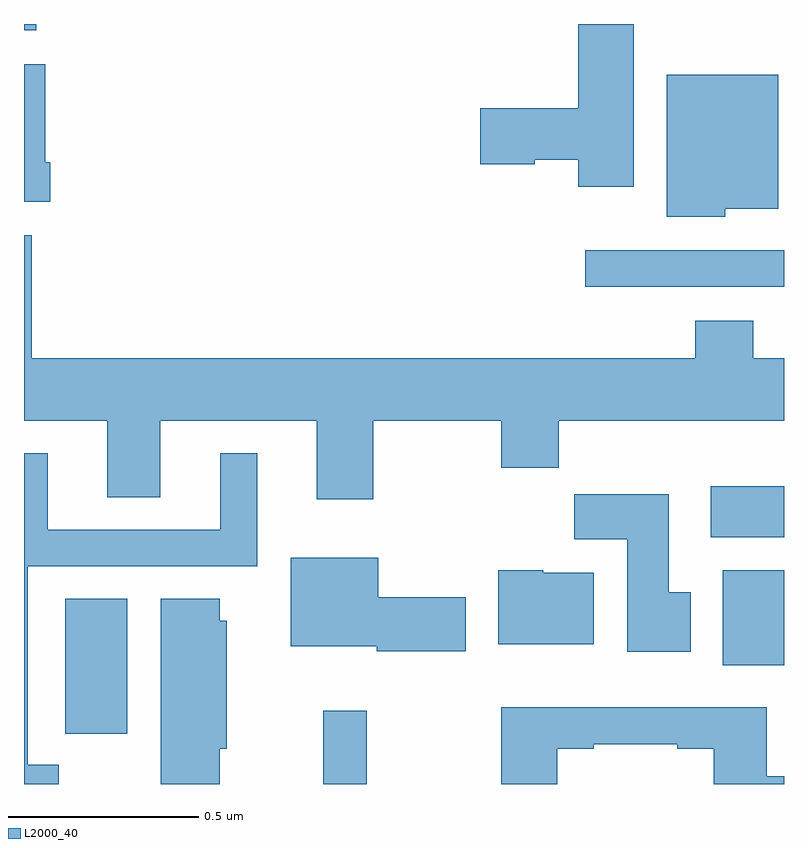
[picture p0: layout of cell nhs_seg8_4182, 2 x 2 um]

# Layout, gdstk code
import gdstk
lib = gdstk.Library(unit=1e-6, precision=1e-09)
def R(c, l, rs):  # rectangles x0, y0, x1, y1
    for r in rs: c.add(gdstk.rectangle(r[:2], r[2:], *l))
def P(c, l, *ps):  # polygons
    for p in ps: c.add(gdstk.Polygon(p, *l))
L2000_40 = (2000, 40)

nhs_seg8_4182 = lib.new_cell('nhs_seg8_4182')
R(nhs_seg8_4182, L2000_40, [(167.788,1092.9,167.902,1093.093), (167.108,1093.032,167.272,1093.388), (168.839,1093.212,169,1093.462), (168.807,1093.55,169,1093.684), (168.477,1094.208,169,1094.304), (167,1094.883,167.032,1094.9)])
P(nhs_seg8_4182, L2000_40, [(168.604,1094.9),(168.458,1094.9),(168.458,1094.678),(168.201,1094.678),(168.201,1094.531),(168.344,1094.531),(168.344,1094.543),(168.458,1094.543),(168.458,1094.472),(168.604,1094.472)],
  [(167.069,1094.536),(167.056,1094.536),(167.056,1094.794),(167,1094.794),(167,1094.432),(167.069,1094.432)],
  [(168.846,1094.414),(168.985,1094.414),(168.985,1094.767),(168.692,1094.767),(168.692,1094.393),(168.846,1094.393)],
  [(167.919,1093.856),(168.256,1093.856),(168.256,1093.732),(168.407,1093.732),(168.407,1093.856),(169,1093.856),(169,1094.02),(168.919,1094.02),(168.919,1094.119),(168.767,1094.119),(168.767,1094.02),(167.021,1094.02),(167.021,1094.344),(167,1094.344),(167,1093.856),(167.219,1093.856),(167.219,1093.654),(167.359,1093.654),(167.359,1093.856),(167.771,1093.856),(167.771,1093.65),(167.919,1093.65)],
  [(167.092,1092.951),(167.01,1092.951),(167.01,1093.473),(167.614,1093.473),(167.614,1093.771),(167.516,1093.771),(167.516,1093.569),(167.062,1093.569),(167.062,1093.771),(167,1093.771),(167,1092.9),(167.092,1092.9)],
  [(168.754,1093.404),(168.697,1093.404),(168.697,1093.663),(168.448,1093.663),(168.448,1093.544),(168.587,1093.544),(168.587,1093.248),(168.754,1093.248)],
  [(168.163,1093.392),(167.932,1093.392),(167.932,1093.495),(167.702,1093.495),(167.702,1093.262),(167.928,1093.262),(167.928,1093.25),(168.163,1093.25)],
  [(168.499,1093.456),(168.366,1093.456),(168.366,1093.462),(168.248,1093.462),(168.248,1093.268),(168.499,1093.268)],
  [(167.515,1092.993),(167.533,1092.993),(167.533,1093.329),(167.515,1093.329),(167.515,1093.388),(167.36,1093.388),(167.36,1092.9),(167.515,1092.9)],
  [(168.403,1092.993),(168.499,1092.993),(168.499,1093.005),(168.719,1093.005),(168.719,1092.993),(168.815,1092.993),(168.815,1092.9),(169,1092.9),(169,1092.921),(168.955,1092.921),(168.955,1093.102),(168.256,1093.102),(168.256,1092.9),(168.403,1092.9)])

lib.write_gds('nhs_seg8_4182.gds')
